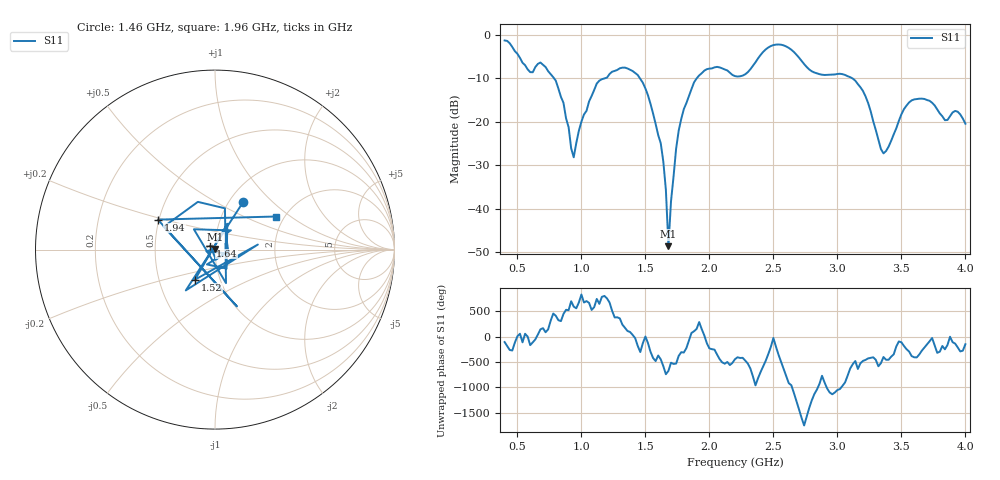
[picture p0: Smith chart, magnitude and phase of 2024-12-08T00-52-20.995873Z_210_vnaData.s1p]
!Created with skrf (http://scikit-rf.org).
# Hz S RI R 50.0
!freq ReS11 ImS11
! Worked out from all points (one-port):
!   181 points, 400 MHz to 4 GHz, reference 50 ohm
!   lowest |S11| = -48.6 dB at 1.68 GHz (marker M1), VSWR 1.01, Z = 50.2 + j0.281 ohm
!   |S11| at or under -10 dB: 785.1 MHz to 1.189 GHz (403.4 MHz wide, 40.9 % of centre); 1.456 GHz to 1.902 GHz (446.6 MHz wide, 26.6 % of centre); 3.113 GHz to end of sweep
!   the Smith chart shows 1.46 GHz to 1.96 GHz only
!   S11 on the Smith chart (normalised r, x): 1.46 GHz: 1.16, +0.68; 1.52 GHz: 0.76, -0.26; 1.64 GHz: 0.95, +0.04; 1.94 GHz: 0.49, +0.19; 1.96 GHz: 1.80, +0.78
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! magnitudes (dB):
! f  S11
! 400 MHz  -1.4
! 600 MHz  -8.6
! 720 MHz  -7.5
! 860 MHz  -15.7
! 940 MHz  -28.2
! 1 GHz  -20.0
! 1.12 GHz  -11.3
! 1.3 GHz  -7.7
! 1.46 GHz  -10.2
! 1.52 GHz  -13.9
! 1.64 GHz  -29.2
! 1.66 GHz  -35.6
! 1.68 GHz  -48.6
! 1.7 GHz  -38.3
! 1.76 GHz  -22.1
! 1.88 GHz  -11.0
! 1.94 GHz  -8.9
! 1.96 GHz  -8.3
! 2.2 GHz  -9.5
! 2.48 GHz  -2.6
! 2.66 GHz  -4.0
! 2.82 GHz  -8.7
! 3.1 GHz  -9.8
! 3.22 GHz  -14.2
! 3.36 GHz  -27.3
! 3.56 GHz  -15.6
! 3.72 GHz  -15.2
! 4 GHz  -20.5
